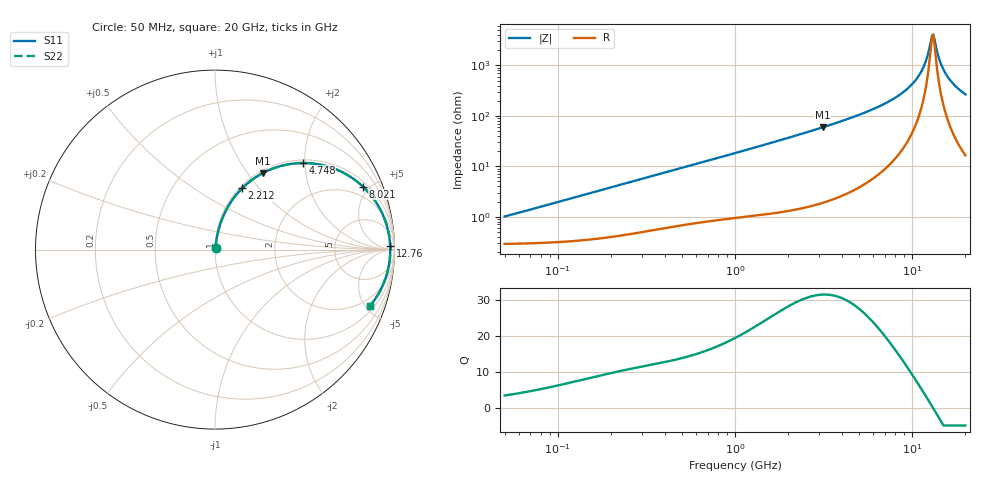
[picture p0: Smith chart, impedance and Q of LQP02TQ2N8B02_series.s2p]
!Murata Part Number: LQP02TQ2N8B02
!These Parameters are Measured in Series Mode Connection
!  o--[Z]--o
!Port1  Port2
!  o-------o
!Freq. Start=50[MHz] Stop=20[GHz], 401[Steps]
# Hz S RI R 50
!Freq.(Hz) S11(Real) S11(Imag) S21(Real) S21(Imag) S12(Real) S12(Imag) S22(Real) S22(Imag)
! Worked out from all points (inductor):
!   401 points, 50 MHz to 20 GHz, reference 50 ohm
!   read as one part in series: L = 3.08 nH near 51.52 MHz
!   highest Q = 31.5 at 3.122 GHz (marker M1), where L = 3.01 nH
!   self-resonance near 12.95 GHz
!   S11 on the Smith chart (normalised r, x): 50 MHz: 1.01, +0.02; 2.212 GHz: 1.03, +0.81; 4.748 GHz: 1.07, +1.95; 8.021 GHz: 1.28, +4.56; 12.76 GHz: 46, +41; 20 GHz: 1.33, -5.34
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5e7  0.00296 0.00962  0.997 -0.00962  0.997 -0.00962  0.00296 0.00962
1.364002e8  0.00406 0.026  0.9959 -0.026  0.9959 -0.026  0.00406 0.026
3.721004e8  0.0104 0.0687  0.9896 -0.0687  0.9896 -0.0687  0.0104 0.0687
1e9  0.0405 0.1731  0.9595 -0.1731  0.9595 -0.1731  0.0405 0.1731
2.211938e9  0.1508 0.3413  0.8492 -0.3413  0.8492 -0.3413  0.1508 0.3413
2.728004e9  0.2138 0.3942  0.7862 -0.3942  0.7862 -0.3942  0.2138 0.3942
3.121702e9  0.2656 0.4261  0.7344 -0.4261  0.7344 -0.4261  0.2656 0.4261
4.748272e9  0.488 0.4826  0.512 -0.4826  0.512 -0.4826  0.488 0.4826
5.944466e9  0.6352 0.4611  0.3648 -0.4611  0.3648 -0.4611  0.6352 0.4611
7.442007e9  0.7807 0.3873  0.2193 -0.3873  0.2193 -0.3873  0.7807 0.3873
8.020766e9  0.8246 0.3506  0.1754 -0.3506  0.1754 -0.3506  0.8246 0.3506
9.457416e9  0.9057 0.2505  0.0943 -0.2505  0.0943 -0.2505  0.9057 0.2505
1.082228e10  0.9512 0.1526  0.0488 -0.1526  0.0488 -0.1526  0.9512 0.1526
1.183995e10  0.9692 0.082  0.0308 -0.082  0.0308 -0.082  0.9692 0.082
1.220001e10  0.9728 0.0578  0.0272 -0.0578  0.0272 -0.0578  0.9728 0.0578
1.276073e10  0.976 0.0213  0.024 -0.0213  0.024 -0.0213  0.976 0.0213
1.314879e10  0.9765 -0.0031  0.0235 0.0031  0.0235 0.0031  0.9765 -0.0031
1.334722e10  0.9763 -0.0153  0.0237 0.0153  0.0237 0.0153  0.9763 -0.0153
1.438523e10  0.9708 -0.0761  0.0292 0.0761  0.0292 0.0761  0.9708 -0.0761
1.573793e10  0.9543 -0.1473  0.0457 0.1473  0.0457 0.1473  0.9543 -0.1473
1.747767e10  0.9221 -0.2255  0.0779 0.2255  0.0779 0.2255  0.9221 -0.2255
2e10  0.8627 -0.3147  0.1373 0.3147  0.1373 0.3147  0.8627 -0.3147
